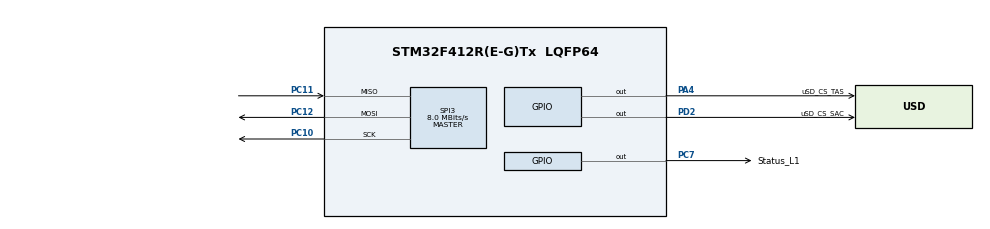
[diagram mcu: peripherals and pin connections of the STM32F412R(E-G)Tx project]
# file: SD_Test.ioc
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FATFS._MAX_SS=4096
FATFS._USE_LFN=1
Mcu.Family=STM32F4
Mcu.Name=STM32F412R(E-G)Tx
Mcu.Package=LQFP64
NVIC.PriorityGroup=NVIC_PRIORITYGROUP_4
PA13.Mode=Serial_Wire
PA13.Signal=SYS_JTMS-SWDIO
PA14.Mode=Serial_Wire
PA14.Signal=SYS_JTCK-SWCLK
PA4.GPIO_Label=uSD_CS_TAS
PA4.Signal=GPIO_Output
PC10.Mode=Full_Duplex_Master
PC10.Signal=SPI3_SCK
PC11.Mode=Full_Duplex_Master
PC11.Signal=SPI3_MISO
PC12.Mode=Full_Duplex_Master
PC12.Signal=SPI3_MOSI
PC14-OSC32_IN.Mode=LSE-External-Oscillator
PC14-OSC32_IN.Signal=RCC_OSC32_IN
PC15-OSC32_OUT.Mode=LSE-External-Oscillator
PC15-OSC32_OUT.Signal=RCC_OSC32_OUT
PC7.GPIO_Label=Status_L1
PC7.Signal=GPIO_Output
PD2.GPIO_Label=uSD_CS_SAC
PD2.Signal=GPIO_Output
PH0\ -\ OSC_IN.Mode=HSE-External-Oscillator
PH0\ -\ OSC_IN.Signal=RCC_OSC_IN
PH1\ -\ OSC_OUT.Mode=HSE-External-Oscillator
PH1\ -\ OSC_OUT.Signal=RCC_OSC_OUT
ProjectManager.HeapSize=0x200
ProjectManager.StackSize=0x400
ProjectManager.TargetToolchain=STM32CubeIDE
RCC.CortexFreq_Value=16000000
RCC.HSE_VALUE=16000000
RCC.USBFreq_Value=96000000
RCC.VCOOutputFreq_Value=192000000
SPI3.CalculateBaudRate=8.0 MBits/s
SPI3.Direction=SPI_DIRECTION_2LINES
SPI3.Mode=SPI_MODE_MASTER
SPI3.VirtualType=VM_MASTER
VP_FATFS_VS_Generic.Mode=User_defined
board=custom

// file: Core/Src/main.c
/* USER CODE BEGIN Header */
/**
  ******************************************************************************
  * @file           : main.c
  * @brief          : Main program body
  ******************************************************************************
  * @attention
  *
  * Copyright (c) 2023 STMicroelectronics.
  * All rights reserved.
  *
  * This software is licensed under terms that can be found in the LICENSE file
  * in the root directory of this software component.
  * If no LICENSE file comes with this software, it is provided AS-IS.
  *
  ******************************************************************************
  */
/* USER CODE END Header */
#include "main.h"
#include "fatfs.h"

/* USER CODE BEGIN Includes */
#include "fatfs_sd.h"
#include "string.h"
#include "stdio.h"
/* USER CODE END Includes */

SPI_HandleTypeDef hspi3;

void SystemClock_Config(void);
static void MX_GPIO_Init(void);
static void MX_SPI3_Init(void);

/* USER CODE BEGIN 0 */
FATFS fs;  // file system
FIL fil; // File
FILINFO fno;
FRESULT fresult;  // result
UINT br, bw;  // File read/write count

FATFS *pfs;
DWORD fre_clust;
uint32_t total, free_space;

#define BUFFER_SIZE 128
char buffer[BUFFER_SIZE];  // to store strings..

int i=0;

int bufsize (char *buf)
{
	int i=0;
	while (*buf++ != '\0') i++;
	return i;
}

void clear_buffer (void)
{
	for (int i=0; i<BUFFER_SIZE; i++) buffer[i] = '\0';
}
/* USER CODE END 0 */

int main(void)
{

  /* MCU Configuration--------------------------------------------------------*/

  /* Reset of all peripherals, Initializes the Flash interface and the Systick. */
  HAL_Init();

  /* Configure the system clock */
  SystemClock_Config();

  /* Initialize all configured peripherals */
  MX_GPIO_Init();
  MX_FATFS_Init();
  MX_SPI3_Init();
  /* USER CODE BEGIN 2 */
  HAL_GPIO_TogglePin(Status_L1_GPIO_Port,Status_L1_Pin);
  HAL_Delay(1000);
  HAL_GPIO_TogglePin(Status_L1_GPIO_Port,Status_L1_Pin);

  fresult = f_mount(&fs,"/",1);
  if (fresult != FR_OK)
	  Error_Handler();

  /*************** Card capacity details ********************/
  /* Check free space */
  f_getfree("", &fre_clust, &pfs);

  total = (uint32_t)((pfs->n_fatent - 2) * pfs->csize * 0.5);

  free_space = (uint32_t)(fre_clust * pfs->csize * 0.5);

  /* Create second file with read write access and open it */
  fresult = f_open(&fil, "SAC_SD_Valid.txt", FA_CREATE_ALWAYS | FA_WRITE);

  /* Writing text */
	strcpy (buffer, "This a test for the SD card in SAC\n");

	fresult = f_write(&fil, buffer, bufsize(buffer), &bw);
	/* Close file */
	f_close(&fil);

	// clearing buffer to show that result obtained is from the file
	clear_buffer();

	/* Open second file to read */
	fresult = f_open(&fil, "SAC_SD_Valid.txt", FA_READ);
	if (fresult != FR_OK)
		Error_Handler();

	/* Read data from the file
	 * Please see the function details for the arguments */
	f_read (&fil, buffer, f_size(&fil), &br);

	/* Close file */
	f_close(&fil);

    clear_buffer();
    HAL_GPIO_TogglePin(Status_L1_GPIO_Port,Status_L1_Pin);
  /* USER CODE END 2 */

  /* Infinite loop */
  while (1)
  {

  }
}

void SystemClock_Config(void)
{
  RCC_OscInitTypeDef RCC_OscInitStruct = {0};
  RCC_ClkInitTypeDef RCC_ClkInitStruct = {0};

  /** Configure the main internal regulator output voltage
  */
  __HAL_RCC_PWR_CLK_ENABLE();
  __HAL_PWR_VOLTAGESCALING_CONFIG(PWR_REGULATOR_VOLTAGE_SCALE1);

  /** Initializes the RCC Oscillators according to the specified parameters
  * in the RCC_OscInitTypeDef structure.
  */
  RCC_OscInitStruct.OscillatorType = RCC_OSCILLATORTYPE_HSI;
  RCC_OscInitStruct.HSIState = RCC_HSI_ON;
  RCC_OscInitStruct.HSICalibrationValue = RCC_HSICALIBRATION_DEFAULT;
  RCC_OscInitStruct.PLL.PLLState = RCC_PLL_NONE;
  if (HAL_RCC_OscConfig(&RCC_OscInitStruct) != HAL_OK)
  {
    Error_Handler();
  }

  /** Initializes the CPU, AHB and APB buses clocks
  */
  RCC_ClkInitStruct.ClockType = RCC_CLOCKTYPE_HCLK|RCC_CLOCKTYPE_SYSCLK
                              |RCC_CLOCKTYPE_PCLK1|RCC_CLOCKTYPE_PCLK2;
  RCC_ClkInitStruct.SYSCLKSource = RCC_SYSCLKSOURCE_HSI;
  RCC_ClkInitStruct.AHBCLKDivider = RCC_SYSCLK_DIV1;
  RCC_ClkInitStruct.APB1CLKDivider = RCC_HCLK_DIV1;
  RCC_ClkInitStruct.APB2CLKDivider = RCC_HCLK_DIV1;

  if (HAL_RCC_ClockConfig(&RCC_ClkInitStruct, FLASH_LATENCY_0) != HAL_OK)
  {
    Error_Handler();
  }
}

static void MX_SPI3_Init(void)
{

  /* SPI3 parameter configuration*/
  hspi3.Instance = SPI3;
  hspi3.Init.Mode = SPI_MODE_MASTER;
  hspi3.Init.Direction = SPI_DIRECTION_2LINES;
  hspi3.Init.DataSize = SPI_DATASIZE_8BIT;
  hspi3.Init.CLKPolarity = SPI_POLARITY_LOW;
  hspi3.Init.CLKPhase = SPI_PHASE_1EDGE;
  hspi3.Init.NSS = SPI_NSS_SOFT;
  hspi3.Init.BaudRatePrescaler = SPI_BAUDRATEPRESCALER_2;
  hspi3.Init.FirstBit = SPI_FIRSTBIT_MSB;
  hspi3.Init.TIMode = SPI_TIMODE_DISABLE;
  hspi3.Init.CRCCalculation = SPI_CRCCALCULATION_DISABLE;
  hspi3.Init.CRCPolynomial = 10;
  if (HAL_SPI_Init(&hspi3) != HAL_OK)
  {
    Error_Handler();
  }

}

static void MX_GPIO_Init(void)
{
  GPIO_InitTypeDef GPIO_InitStruct = {0};

  /* GPIO Ports Clock Enable */
  __HAL_RCC_GPIOC_CLK_ENABLE();
  __HAL_RCC_GPIOH_CLK_ENABLE();
  __HAL_RCC_GPIOA_CLK_ENABLE();
  __HAL_RCC_GPIOD_CLK_ENABLE();

  /*Configure GPIO pin Output Level */
  HAL_GPIO_WritePin(uSD_CS_TAS_GPIO_Port, uSD_CS_TAS_Pin, GPIO_PIN_RESET);

  /*Configure GPIO pin Output Level */
  HAL_GPIO_WritePin(Status_L1_GPIO_Port, Status_L1_Pin, GPIO_PIN_RESET);

  /*Configure GPIO pin Output Level */
  HAL_GPIO_WritePin(uSD_CS_SAC_GPIO_Port, uSD_CS_SAC_Pin, GPIO_PIN_RESET);

  /*Configure GPIO pin : uSD_CS_TAS_Pin */
  GPIO_InitStruct.Pin = uSD_CS_TAS_Pin;
  GPIO_InitStruct.Mode = GPIO_MODE_OUTPUT_PP;
  GPIO_InitStruct.Pull = GPIO_NOPULL;
  GPIO_InitStruct.Speed = GPIO_SPEED_FREQ_LOW;
  HAL_GPIO_Init(uSD_CS_TAS_GPIO_Port, &GPIO_InitStruct);

  /*Configure GPIO pin : Status_L1_Pin */
  GPIO_InitStruct.Pin = Status_L1_Pin;
  GPIO_InitStruct.Mode = GPIO_MODE_OUTPUT_PP;
  GPIO_InitStruct.Pull = GPIO_NOPULL;
  GPIO_InitStruct.Speed = GPIO_SPEED_FREQ_LOW;
  HAL_GPIO_Init(Status_L1_GPIO_Port, &GPIO_InitStruct);

  /*Configure GPIO pin : uSD_CS_SAC_Pin */
  GPIO_InitStruct.Pin = uSD_CS_SAC_Pin;
  GPIO_InitStruct.Mode = GPIO_MODE_OUTPUT_PP;
  GPIO_InitStruct.Pull = GPIO_NOPULL;
  GPIO_InitStruct.Speed = GPIO_SPEED_FREQ_LOW;
  HAL_GPIO_Init(uSD_CS_SAC_GPIO_Port, &GPIO_InitStruct);

}

void Error_Handler(void)
{
  __disable_irq();
  while (1)
  {
  }
}
